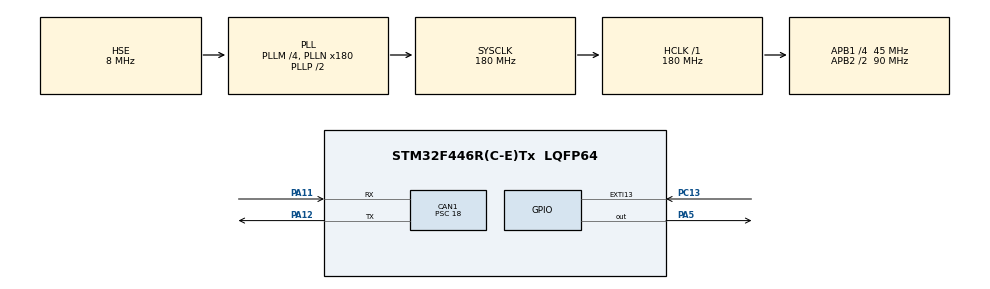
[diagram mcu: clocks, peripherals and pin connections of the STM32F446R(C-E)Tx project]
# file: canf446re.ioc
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CAN1.BS1=CAN_BS1_2TQ
CAN1.BS2=CAN_BS2_2TQ
CAN1.CalculateBaudRate=500000
CAN1.CalculateTimeBit=2000
CAN1.CalculateTimeQuantum=400.0
CAN1.Prescaler=18
Mcu.Family=STM32F4
Mcu.Name=STM32F446R(C-E)Tx
Mcu.Package=LQFP64
NVIC.CAN1_RX0_IRQn=true\:0\:0\:false\:false\:true\:true\:true\:true
NVIC.EXTI15_10_IRQn=true\:0\:0\:false\:false\:true\:true\:true\:true
NVIC.PriorityGroup=NVIC_PRIORITYGROUP_0
PA11.Mode=CAN_Activate
PA11.Signal=CAN1_RX
PA12.Mode=CAN_Activate
PA12.Signal=CAN1_TX
PA5.Signal=GPIO_Output
PC13.Signal=GPXTI13
PH0-OSC_IN.Mode=HSE-External-Oscillator
PH0-OSC_IN.Signal=RCC_OSC_IN
PH1-OSC_OUT.Mode=HSE-External-Oscillator
PH1-OSC_OUT.Signal=RCC_OSC_OUT
ProjectManager.HeapSize=0x200
ProjectManager.StackSize=0x400
ProjectManager.TargetToolchain=STM32CubeIDE
RCC.48MHZClocksFreq_Value=84000000
RCC.AHBFreq_Value=180000000
RCC.APB1CLKDivider=RCC_HCLK_DIV4
RCC.APB1Freq_Value=45000000
RCC.APB1TimFreq_Value=90000000
RCC.APB2CLKDivider=RCC_HCLK_DIV2
RCC.APB2Freq_Value=90000000
RCC.APB2TimFreq_Value=180000000
RCC.CortexFreq_Value=180000000
RCC.FLatency-AdvancedSettings=FLASH_LATENCY_5
RCC.HCLKFreq_Value=180000000
RCC.HSE_VALUE=8000000
RCC.HSI_VALUE=16000000
RCC.PLLM=4
RCC.PLLN=180
RCC.PLLSourceVirtual=RCC_PLLSOURCE_HSE
RCC.SYSCLKFreq_VALUE=180000000
RCC.SYSCLKSource=RCC_SYSCLKSOURCE_PLLCLK
RCC.USBFreq_Value=180000000
RCC.VCOOutputFreq_Value=360000000
board=NUCLEO-F446RE

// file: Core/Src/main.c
/* USER CODE BEGIN Header */
/**
  ******************************************************************************
  * @file           : main.c
  * @brief          : Main program body
  ******************************************************************************
  * @attention
  *
  * Copyright (c) 2025 STMicroelectronics.
  * All rights reserved.
  *
  * This software is licensed under terms that can be found in the LICENSE file
  * in the root directory of this software component.
  * If no LICENSE file comes with this software, it is provided AS-IS.
  *
  ******************************************************************************
  */
/* USER CODE END Header */
#include "main.h"

/* USER CODE BEGIN Includes */
#include "stdint.h"
/* USER CODE END Includes */

CAN_HandleTypeDef hcan1;

void SystemClock_Config(void);
static void MX_GPIO_Init(void);
static void MX_CAN1_Init(void);
/* USER CODE BEGIN PFP */
CAN_TxHeaderTypeDef TxHeader;
CAN_RxHeaderTypeDef RxHeader;
/* USER CODE END PFP */

/* USER CODE BEGIN 0 */
uint8_t TxData[8];
uint8_t RxData[8];

uint32_t TxMailbox;
int datacheck = 0;
int sendDataFlag = 0;
void HAL_GPIO_EXTI_Callback(uint16_t GPIO_Pin)
{
    if (GPIO_Pin == GPIO_PIN_13)
    {
        sendDataFlag = !sendDataFlag;  // Đảo trạng thái gửi dữ liệu (Bật/Tắt)
    }

    if (sendDataFlag)
    {
        // Randomize dữ liệu
        for (int i = 0; i < 8; i++)
        {
            TxData[i] = rand() % 256;  // Gửi giá trị ngẫu nhiên từ 0 đến 255
        }
    }
}
void HAL_CAN_RxFifo0MsgPendingCallback(CAN_HandleTypeDef *hcan)
{
	if (hcan->Instance == CAN1)  // Kiểm tra đúng CAN1
	{
	HAL_CAN_GetRxMessage(hcan, CAN_RX_FIFO0, &RxHeader, RxData);
	if(RxHeader.DLC == 8)
	{
		datacheck = 1;
	}
}
}
/* USER CODE END 0 */

int main(void)
{

  /* MCU Configuration--------------------------------------------------------*/

  /* Reset of all peripherals, Initializes the Flash interface and the Systick. */
  HAL_Init();

  /* Configure the system clock */
  SystemClock_Config();

  /* Initialize all configured peripherals */
  MX_GPIO_Init();
  MX_CAN1_Init();
  /* USER CODE BEGIN 2 */
  HAL_CAN_Start(&hcan1);
  //Thongbao
  HAL_CAN_ActivateNotification(&hcan1, CAN_IT_RX_FIFO0_MSG_PENDING);
  TxHeader.DLC = 8;
  TxHeader.IDE = CAN_ID_STD;
  TxHeader.RTR = CAN_RTR_DATA;
  TxHeader.StdId = 0x446;
  /* USER CODE END 2 */

  /* Infinite loop */
  while (1)
  {

    /* USER CODE BEGIN 3 */
	  if (sendDataFlag)
	  	      {
	  	        HAL_CAN_AddTxMessage(&hcan1, &TxHeader, TxData, &TxMailbox);
	  	        HAL_Delay(5000);  // Gửi mỗi 1 giây
	  	      }
	  	  if (datacheck)
	  	  {
	  		 //blink led
	  		  for (int i=0; i<RxData[1]; i++)
	  		  {
	  			  HAL_GPIO_TogglePin(GPIOA, GPIO_PIN_5);
	  			  HAL_Delay(RxData[0]);
	  		  }
	  		  datacheck = 0;
	  	  }
	    }

  /* USER CODE END 3 */
}

void SystemClock_Config(void)
{
  RCC_OscInitTypeDef RCC_OscInitStruct = {0};
  RCC_ClkInitTypeDef RCC_ClkInitStruct = {0};

  /** Configure the main internal regulator output voltage
  */
  __HAL_RCC_PWR_CLK_ENABLE();
  __HAL_PWR_VOLTAGESCALING_CONFIG(PWR_REGULATOR_VOLTAGE_SCALE1);

  /** Initializes the RCC Oscillators according to the specified parameters
  * in the RCC_OscInitTypeDef structure.
  */
  RCC_OscInitStruct.OscillatorType = RCC_OSCILLATORTYPE_HSE;
  RCC_OscInitStruct.HSEState = RCC_HSE_ON;
  RCC_OscInitStruct.PLL.PLLState = RCC_PLL_ON;
  RCC_OscInitStruct.PLL.PLLSource = RCC_PLLSOURCE_HSE;
  RCC_OscInitStruct.PLL.PLLM = 4;
  RCC_OscInitStruct.PLL.PLLN = 180;
  RCC_OscInitStruct.PLL.PLLP = RCC_PLLP_DIV2;
  RCC_OscInitStruct.PLL.PLLQ = 2;
  RCC_OscInitStruct.PLL.PLLR = 2;
  if (HAL_RCC_OscConfig(&RCC_OscInitStruct) != HAL_OK)
  {
    Error_Handler();
  }

  /** Activate the Over-Drive mode
  */
  if (HAL_PWREx_EnableOverDrive() != HAL_OK)
  {
    Error_Handler();
  }

  /** Initializes the CPU, AHB and APB buses clocks
  */
  RCC_ClkInitStruct.ClockType = RCC_CLOCKTYPE_HCLK|RCC_CLOCKTYPE_SYSCLK
                              |RCC_CLOCKTYPE_PCLK1|RCC_CLOCKTYPE_PCLK2;
  RCC_ClkInitStruct.SYSCLKSource = RCC_SYSCLKSOURCE_PLLCLK;
  RCC_ClkInitStruct.AHBCLKDivider = RCC_SYSCLK_DIV1;
  RCC_ClkInitStruct.APB1CLKDivider = RCC_HCLK_DIV4;
  RCC_ClkInitStruct.APB2CLKDivider = RCC_HCLK_DIV2;

  if (HAL_RCC_ClockConfig(&RCC_ClkInitStruct, FLASH_LATENCY_5) != HAL_OK)
  {
    Error_Handler();
  }
}

static void MX_CAN1_Init(void)
{

  hcan1.Instance = CAN1;
  hcan1.Init.Prescaler = 18;
  hcan1.Init.Mode = CAN_MODE_NORMAL;
  hcan1.Init.SyncJumpWidth = CAN_SJW_1TQ;
  hcan1.Init.TimeSeg1 = CAN_BS1_2TQ;
  hcan1.Init.TimeSeg2 = CAN_BS2_2TQ;
  hcan1.Init.TimeTriggeredMode = DISABLE;
  hcan1.Init.AutoBusOff = DISABLE;
  hcan1.Init.AutoWakeUp = DISABLE;
  hcan1.Init.AutoRetransmission = DISABLE;
  hcan1.Init.ReceiveFifoLocked = DISABLE;
  hcan1.Init.TransmitFifoPriority = DISABLE;
  if (HAL_CAN_Init(&hcan1) != HAL_OK)
  {
    Error_Handler();
  }
  /* USER CODE BEGIN CAN1_Init 2 */
  CAN_FilterTypeDef canfilterconfig;

  canfilterconfig.FilterActivation = CAN_FILTER_ENABLE;
  canfilterconfig.FilterBank = 10;
  canfilterconfig.FilterFIFOAssignment = CAN_FILTER_FIFO0;
  canfilterconfig.FilterIdHigh = 0x103<<5;
  canfilterconfig.FilterIdLow = 0;
  canfilterconfig.FilterMaskIdHigh = 0x103<<5;
  canfilterconfig.FilterMaskIdLow = 0x0000;
  canfilterconfig.FilterMode = CAN_FILTERMODE_IDMASK;
  canfilterconfig.FilterScale = CAN_FILTERSCALE_32BIT;
  canfilterconfig.SlaveStartFilterBank = 20;

  HAL_CAN_ConfigFilter(&hcan1, &canfilterconfig);
  /* USER CODE END CAN1_Init 2 */

}

static void MX_GPIO_Init(void)
{
  GPIO_InitTypeDef GPIO_InitStruct = {0};

  /* GPIO Ports Clock Enable */
  __HAL_RCC_GPIOC_CLK_ENABLE();
  __HAL_RCC_GPIOH_CLK_ENABLE();
  __HAL_RCC_GPIOA_CLK_ENABLE();

  /*Configure GPIO pin Output Level */
  HAL_GPIO_WritePin(GPIOA, GPIO_PIN_5, GPIO_PIN_RESET);

  /*Configure GPIO pin : PC13 */
  GPIO_InitStruct.Pin = GPIO_PIN_13;
  GPIO_InitStruct.Mode = GPIO_MODE_IT_RISING;
  GPIO_InitStruct.Pull = GPIO_NOPULL;
  HAL_GPIO_Init(GPIOC, &GPIO_InitStruct);

  /*Configure GPIO pin : PA5 */
  GPIO_InitStruct.Pin = GPIO_PIN_5;
  GPIO_InitStruct.Mode = GPIO_MODE_OUTPUT_PP;
  GPIO_InitStruct.Pull = GPIO_NOPULL;
  GPIO_InitStruct.Speed = GPIO_SPEED_FREQ_LOW;
  HAL_GPIO_Init(GPIOA, &GPIO_InitStruct);

  /* EXTI interrupt init*/
  HAL_NVIC_SetPriority(EXTI15_10_IRQn, 0, 0);
  HAL_NVIC_EnableIRQ(EXTI15_10_IRQn);

}

void Error_Handler(void)
{
  __disable_irq();
  while (1)
  {
  }
}
